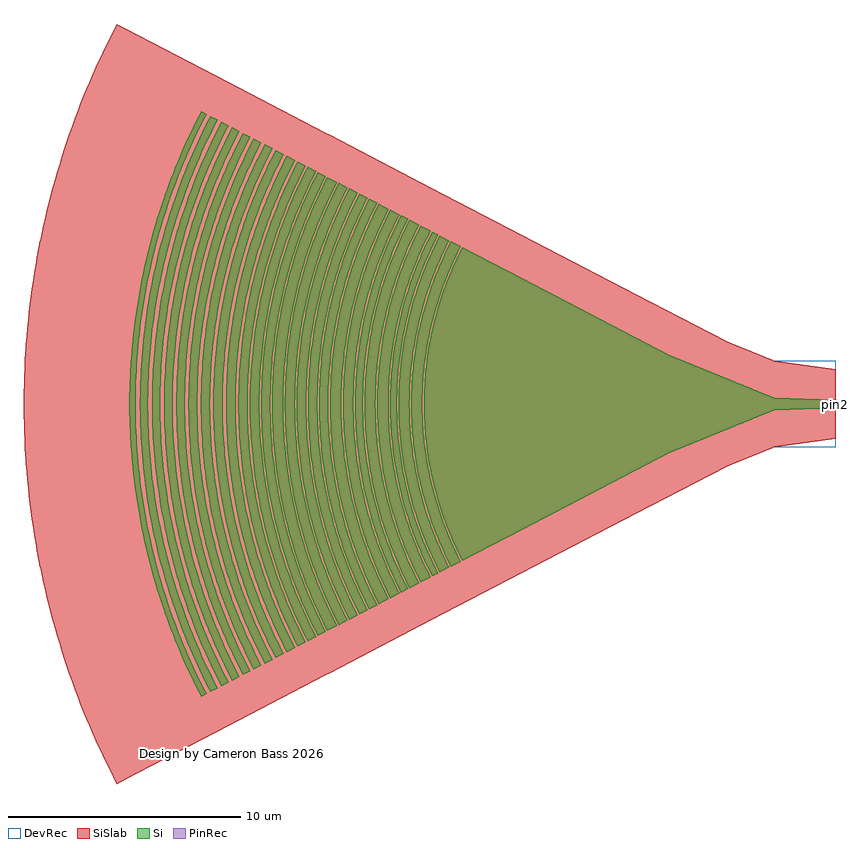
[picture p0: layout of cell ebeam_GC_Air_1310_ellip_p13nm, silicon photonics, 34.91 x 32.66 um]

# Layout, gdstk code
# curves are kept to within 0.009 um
import gdstk
lib = gdstk.Library(unit=1e-6, precision=1e-09)
def P(c, l, *ps):  # polygons
    for p in ps: c.add(gdstk.Polygon(p, *l))
Si = (1, 0)
PinRec = (1, 10)
SiSlab = (2, 0)
DevRec = (68, 0)

ebeam_gc_air_1310_ellip_ = lib.new_cell('ebeam_GC_Air_1310_ellip_p13nm')
P(ebeam_gc_air_1310_ellip_, Si, [(-16.054,-6.734),(-16.422,-5.974),(-16.796,-5.058),(-17.025,-4.388),(-17.291,-3.434),(-17.467,-2.603),(-17.594,-1.765),(-17.672,-0.919),(-17.7,-0.071),(-17.672,0.919),(-17.594,1.765),(-17.467,2.604),(-17.291,3.434),(-17.025,4.388),(-16.796,5.058),(-16.422,5.974),(-16.054,6.734),(-7.087,2.069),(-3.18,0.476),(-2.872,0.362),(-2.674,0.269),(0,0.175),(0,-0.175),(-2.673,-0.269),(-2.841,-0.349),(-3.195,-0.482),(-7.118,-2.082)],
  [(-16.546,-6.989),(-16.925,-6.204),(-17.262,-5.39),(-17.551,-4.557),(-17.792,-3.709),(-17.983,-2.848),(-18.123,-1.978),(-18.222,-0.955),(-18.252,-0.073),(-18.231,0.808),(-18.141,1.833),(-18.01,2.704),(-17.827,3.566),(-17.718,3.993),(-17.551,4.557),(-17.262,5.39),(-16.925,6.204),(-16.546,6.99),(-16.119,6.768),(-16.489,6.005),(-16.816,5.216),(-17.096,4.411),(-17.328,3.59),(-17.539,2.618),(-17.667,1.773),(-17.754,0.782),(-17.774,0.071),(-17.754,-0.782),(-17.667,-1.773),(-17.539,-2.617),(-17.362,-3.452),(-17.138,-4.275),(-16.866,-5.083),(-16.489,-6.005),(-16.119,-6.768)],
  [(-17.027,-7.24),(-17.419,-6.428),(-17.768,-5.585),(-18.067,-4.722),(-18.317,-3.843),(-18.514,-2.951),(-18.659,-2.05),(-18.752,-1.141),(-18.779,-0.685),(-18.793,-0.076),(-18.771,0.837),(-18.696,1.747),(-18.639,2.201),(-18.542,2.801),(-18.353,3.695),(-18.199,4.285),(-18.067,4.722),(-17.768,5.585),(-17.419,6.428),(-17.027,7.24),(-16.61,7.024),(-17.052,6.1),(-17.383,5.278),(-17.666,4.438),(-17.899,3.584),(-18.082,2.718),(-18.215,1.841),(-18.296,0.959),(-18.326,0.074),(-18.305,-0.811),(-18.215,-1.841),(-18.082,-2.718),(-17.899,-3.584),(-17.666,-4.438),(-17.383,-5.279),(-17.052,-6.1),(-16.61,-7.024)],
  [(-17.347,-7.407),(-17.551,-7.001),(-17.811,-6.434),(-18.16,-5.568),(-18.457,-4.682),(-18.704,-3.78),(-18.897,-2.866),(-19.037,-1.943),(-19.132,-0.857),(-19.154,0.078),(-19.123,1.012),(-19.037,1.943),(-18.974,2.406),(-18.869,3.019),(-18.667,3.932),(-18.411,4.831),(-18.105,5.714),(-17.748,6.577),(-17.346,7.407),(-17.093,7.274),(-17.548,6.319),(-17.943,5.325),(-18.092,4.89),(-18.27,4.305),(-18.526,3.265),(-18.69,2.362),(-18.786,1.604),(-18.845,0.841),(-18.867,0.077),(-18.852,-0.688),(-18.801,-1.451),(-18.69,-2.362),(-18.557,-3.115),(-18.46,-3.564),(-18.27,-4.305),(-17.994,-5.18),(-17.782,-5.753),(-17.548,-6.319),(-17.093,-7.274)],
  [(-17.843,-7.665),(-18.053,-7.245),(-18.322,-6.659),(-18.683,-5.763),(-18.991,-4.846),(-19.246,-3.913),(-19.446,-2.966),(-19.59,-2.011),(-19.679,-1.047),(-19.712,-0.08),(-19.688,0.887),(-19.609,1.85),(-19.474,2.808),(-19.353,3.442),(-19.246,3.913),(-18.991,4.846),(-18.683,5.763),(-18.509,6.214),(-18.257,6.807),(-17.843,7.665),(-17.412,7.441),(-17.815,6.608),(-18.174,5.74),(-18.483,4.853),(-18.738,3.951),(-18.97,2.88),(-19.11,1.951),(-19.174,1.329),(-19.206,0.86),(-19.228,0.078),(-19.206,-0.86),(-19.174,-1.329),(-19.11,-1.951),(-18.97,-2.88),(-18.775,-3.798),(-18.529,-4.704),(-18.229,-5.594),(-17.879,-6.465),(-17.412,-7.441)],
  [(-18.323,-7.915),(-18.751,-7.028),(-19.011,-6.416),(-19.19,-5.951),(-19.509,-5.004),(-19.772,-4.04),(-19.978,-3.063),(-20.128,-2.076),(-20.219,-1.082),(-20.253,-0.083),(-20.229,0.916),(-20.147,1.91),(-20.035,2.735),(-19.916,3.391),(-19.811,3.879),(-19.648,4.524),(-19.509,5.004),(-19.19,5.95),(-19.011,6.416),(-18.751,7.029),(-18.323,7.915),(-17.91,7.7),(-18.326,6.838),(-18.518,6.392),(-18.754,5.788),(-19.064,4.868),(-19.319,3.931),(-19.52,2.98),(-19.665,2.019),(-19.755,1.052),(-19.788,0.081),(-19.764,-0.89),(-19.684,-1.858),(-19.6,-2.501),(-19.52,-2.98),(-19.319,-3.93),(-19.064,-4.867),(-18.754,-5.789),(-18.326,-6.838),(-17.91,-7.7)],
  [(-18.685,-8.103),(-19.123,-7.195),(-19.514,-6.251),(-19.849,-5.285),(-20.042,-4.631),(-20.169,-4.136),(-20.38,-3.136),(-20.533,-2.125),(-20.627,-1.107),(-20.661,-0.085),(-20.637,0.937),(-20.553,1.956),(-20.41,2.968),(-20.282,3.638),(-20.169,4.136),(-20.042,4.631),(-19.849,5.285),(-19.514,6.251),(-19.123,7.195),(-18.685,8.103),(-18.388,7.95),(-18.679,7.363),(-18.953,6.753),(-19.142,6.289),(-19.374,5.662),(-19.532,5.185),(-19.719,4.544),(-19.883,3.895),(-19.989,3.405),(-20.134,2.582),(-20.239,1.753),(-20.304,0.919),(-20.328,0.084),(-20.304,-0.919),(-20.239,-1.753),(-20.134,-2.582),(-19.989,-3.405),(-19.883,-3.895),(-19.719,-4.544),(-19.532,-5.185),(-19.374,-5.662),(-18.953,-6.753),(-18.679,-7.363),(-18.389,-7.949)],
  [(-19.143,-8.342),(-19.594,-7.408),(-19.869,-6.762),(-20.058,-6.272),(-20.393,-5.274),(-20.671,-4.258),(-20.888,-3.228),(-21.046,-2.188),(-21.142,-1.14),(-21.178,-0.088),(-21.168,0.614),(-21.142,1.14),(-21.046,2.188),(-20.888,3.228),(-20.671,4.258),(-20.393,5.274),(-20.058,6.272),(-19.665,7.248),(-19.448,7.727),(-19.143,8.342),(-18.752,8.138),(-19.192,7.227),(-19.46,6.596),(-19.644,6.117),(-19.972,5.144),(-20.242,4.154),(-20.454,3.15),(-20.608,2.134),(-20.702,1.112),(-20.737,0.086),(-20.712,-0.941),(-20.628,-1.964),(-20.484,-2.981),(-20.39,-3.485),(-20.242,-4.154),(-19.972,-5.144),(-19.644,-6.118),(-19.261,-7.07),(-19.049,-7.537),(-18.752,-8.138)],
  [(-19.642,-8.602),(-20.105,-7.641),(-20.52,-6.639),(-20.875,-5.613),(-21.172,-4.568),(-21.406,-3.508),(-21.579,-2.437),(-21.689,-1.356),(-21.72,-0.815),(-21.738,-0.09),(-21.712,0.995),(-21.622,2.077),(-21.471,3.152),(-21.335,3.863),(-21.215,4.393),(-20.929,5.44),(-20.705,6.128),(-20.52,6.639),(-20.105,7.641),(-19.642,8.602),(-19.21,8.377),(-19.662,7.439),(-20.067,6.462),(-20.247,5.966),(-20.466,5.296),(-20.701,4.447),(-20.929,3.415),(-21.098,2.372),(-21.176,1.672),(-21.217,1.144),(-21.253,0.088),(-21.248,-0.441),(-21.217,-1.144),(-21.12,-2.196),(-20.962,-3.242),(-20.743,-4.276),(-20.466,-5.295),(-20.247,-5.966),(-20.067,-6.462),(-19.662,-7.439),(-19.21,-8.377)],
  [(-20.057,-8.818),(-20.533,-7.831),(-20.958,-6.804),(-21.323,-5.752),(-21.627,-4.681),(-21.867,-3.595),(-22.044,-2.497),(-22.157,-1.39),(-22.189,-0.835),(-22.207,-0.093),(-22.18,1.02),(-22.089,2.128),(-22.019,2.681),(-21.901,3.413),(-21.671,4.502),(-21.483,5.22),(-21.323,5.752),(-20.958,6.804),(-20.533,7.831),(-20.057,8.818),(-19.712,8.638),(-20.177,7.673),(-20.594,6.665),(-20.952,5.636),(-21.248,4.587),(-21.484,3.522),(-21.578,2.986),(-21.68,2.266),(-21.78,1.18),(-21.817,0.091),(-21.807,-0.635),(-21.738,-1.724),(-21.633,-2.626),(-21.449,-3.7),(-21.291,-4.41),(-21.108,-5.113),(-20.952,-5.635),(-20.72,-6.325),(-20.462,-7.003),(-20.251,-7.506),(-20.025,-8.003),(-19.712,-8.638)],
  [(-20.477,-9.037),(-20.966,-8.024),(-21.402,-6.971),(-21.775,-5.894),(-21.94,-5.348),(-22.132,-4.612),(-22.297,-3.871),(-22.401,-3.31),(-22.56,-2.182),(-22.654,-1.045),(-22.682,0.095),(-22.643,1.235),(-22.538,2.37),(-22.368,3.497),(-22.218,4.243),(-22.087,4.797),(-21.94,5.348),(-21.775,5.894),(-21.402,6.971),(-20.966,8.024),(-20.726,8.541),(-20.476,9.037),(-20.124,8.853),(-20.602,7.862),(-21.029,6.83),(-21.395,5.775),(-21.604,5.061),(-21.744,4.519),(-21.975,3.427),(-22.142,2.322),(-22.244,1.209),(-22.282,0.093),(-22.264,-0.837),(-22.201,-1.767),(-22.093,-2.691),(-21.905,-3.792),(-21.787,-4.338),(-21.604,-5.061),(-21.45,-5.597),(-21.22,-6.305),(-20.962,-7.003),(-20.751,-7.521),(-20.446,-8.2),(-20.124,-8.853)],
  [(-20.912,-9.263),(-21.414,-8.222),(-21.86,-7.144),(-22.243,-6.04),(-22.412,-5.481),(-22.563,-4.916),(-22.697,-4.347),(-22.851,-3.583),(-23.026,-2.429),(-23.133,-1.265),(-23.172,-0.097),(-23.167,0.487),(-23.133,1.265),(-23.026,2.429),(-22.851,3.584),(-22.609,4.727),(-22.464,5.292),(-22.301,5.854),(-21.929,6.962),(-21.493,8.045),(-21.167,8.753),(-20.912,9.263),(-20.548,9.073),(-20.88,8.401),(-21.116,7.881),(-21.544,6.818),(-21.909,5.734),(-22.21,4.63),(-22.447,3.511),(-22.618,2.379),(-22.723,1.239),(-22.762,0.096),(-22.751,-0.667),(-22.723,-1.239),(-22.618,-2.378),(-22.447,-3.511),(-22.21,-4.63),(-21.909,-5.734),(-21.544,-6.819),(-21.266,-7.529),(-21.039,-8.055),(-20.548,-9.073)],
  [(-21.363,-9.498),(-21.625,-8.976),(-21.877,-8.432),(-22.335,-7.326),(-22.728,-6.194),(-22.954,-5.427),(-23.103,-4.847),(-23.351,-3.675),(-23.53,-2.491),(-23.64,-1.297),(-23.669,-0.699),(-23.68,-0.1),(-23.675,0.499),(-23.64,1.298),(-23.53,2.491),(-23.351,3.675),(-23.103,4.847),(-22.954,5.427),(-22.728,6.194),(-22.335,7.326),(-21.877,8.432),(-21.625,8.976),(-21.363,9.498),(-20.978,9.297),(-21.482,8.254),(-21.931,7.17),(-22.316,6.062),(-22.484,5.501),(-22.681,4.744),(-22.924,3.597),(-23.1,2.437),(-23.207,1.27),(-23.247,0.098),(-23.242,-0.489),(-23.219,-1.074),(-23.162,-1.855),(-23.1,-2.437),(-22.924,-3.597),(-22.681,-4.744),(-22.484,-5.501),(-22.316,-6.062),(-21.931,-7.169),(-21.482,-8.254),(-20.978,-9.297)],
  [(-21.851,-9.751),(-22.118,-9.218),(-22.377,-8.659),(-22.621,-8.095),(-22.847,-7.523),(-23.251,-6.361),(-23.428,-5.772),(-23.587,-5.177),(-23.772,-4.378),(-23.89,-3.774),(-23.991,-3.167),(-24.074,-2.558),(-24.187,-1.332),(-24.217,-0.717),(-24.228,-0.102),(-24.199,1.128),(-24.098,2.354),(-23.991,3.167),(-23.89,3.774),(-23.772,4.378),(-23.636,4.978),(-23.483,5.574),(-23.251,6.361),(-22.847,7.524),(-22.621,8.095),(-22.377,8.66),(-21.851,9.752),(-21.429,9.532),(-21.945,8.463),(-22.405,7.352),(-22.611,6.787),(-22.8,6.216),(-23.127,5.06),(-23.266,4.474),(-23.387,3.885),(-23.579,2.698),(-23.701,1.502),(-23.736,0.901),(-23.755,0.1),(-23.726,-1.102),(-23.668,-1.902),(-23.604,-2.5),(-23.424,-3.689),(-23.175,-4.865),(-22.859,-6.025),(-22.476,-7.164),(-22.026,-8.28),(-21.778,-8.827),(-21.428,-9.532)],
  [(-22.265,-9.967),(-22.538,-9.421),(-22.803,-8.85),(-23.052,-8.273),(-23.284,-7.689),(-23.566,-6.899),(-23.758,-6.301),(-23.933,-5.696),(-24.09,-5.088),(-24.349,-3.857),(-24.452,-3.237),(-24.537,-2.614),(-24.653,-1.362),(-24.695,-0.105),(-24.665,1.153),(-24.562,2.405),(-24.483,3.03),(-24.386,3.651),(-24.271,4.27),(-24.09,5.088),(-23.933,5.696),(-23.758,6.301),(-23.566,6.9),(-23.284,7.689),(-23.052,8.274),(-22.803,8.851),(-22.265,9.967),(-21.917,9.786),(-22.273,9.064),(-22.528,8.503),(-22.843,7.742),(-23.06,7.164),(-23.26,6.58),(-23.499,5.793),(-23.658,5.196),(-23.844,4.393),(-23.963,3.788),(-24.064,3.178),(-24.193,2.158),(-24.273,1.131),(-24.303,0.103),(-24.283,-0.925),(-24.213,-1.953),(-24.094,-2.975),(-23.885,-4.191),(-23.755,-4.795),(-23.553,-5.594),(-23.322,-6.383),(-23.06,-7.164),(-22.767,-7.933),(-22.528,-8.502),(-22.273,-9.064),(-21.917,-9.786)],
  [(-22.699,-10.193),(-22.98,-9.633),(-23.251,-9.049),(-23.506,-8.459),(-23.743,-7.862),(-24.164,-6.647),(-24.407,-5.824),(-24.567,-5.202),(-24.709,-4.575),(-24.832,-3.944),(-24.938,-3.31),(-25.025,-2.673),(-25.093,-2.033),(-25.143,-1.392),(-25.174,-0.75),(-25.186,-0.107),(-25.18,0.536),(-25.155,1.179),(-25.112,1.82),(-25.05,2.459),(-24.969,3.098),(-24.87,3.733),(-24.709,4.575),(-24.567,5.202),(-24.349,6.032),(-24.164,6.647),(-23.743,7.862),(-23.506,8.459),(-23.251,9.049),(-22.98,9.633),(-22.699,10.193),(-22.334,10.003),(-22.699,9.264),(-22.96,8.69),(-23.282,7.912),(-23.503,7.322),(-23.772,6.524),(-23.952,5.919),(-24.115,5.31),(-24.305,4.49),(-24.497,3.457),(-24.64,2.414),(-24.731,1.366),(-24.762,0.737),(-24.774,0.105),(-24.754,-0.946),(-24.717,-1.576),(-24.662,-2.205),(-24.53,-3.248),(-24.347,-4.284),(-24.214,-4.901),(-24.008,-5.716),(-23.772,-6.524),(-23.503,-7.322),(-23.282,-7.912),(-22.96,-8.69),(-22.699,-9.264),(-22.334,-10.003)],
  [(-23.131,-10.418),(-23.421,-9.84),(-23.698,-9.244),(-23.958,-8.641),(-24.201,-8.031),(-24.632,-6.79),(-24.821,-6.161),(-24.991,-5.526),(-25.142,-4.888),(-25.275,-4.245),(-25.389,-3.597),(-25.484,-2.948),(-25.56,-2.295),(-25.632,-1.422),(-25.664,-0.766),(-25.676,-0.109),(-25.67,0.547),(-25.645,1.204),(-25.6,1.859),(-25.537,2.512),(-25.454,3.165),(-25.315,4.029),(-25.188,4.674),(-25.043,5.314),(-24.821,6.162),(-24.696,6.581),(-24.496,7.207),(-24.278,7.826),(-24.041,8.439),(-23.787,9.044),(-23.516,9.643),(-23.131,10.418),(-22.782,10.237),(-23.157,9.476),(-23.51,8.692),(-23.754,8.094),(-23.98,7.49),(-24.255,6.674),(-24.44,6.055),(-24.658,5.223),(-24.801,4.593),(-24.998,3.536),(-25.091,2.897),(-25.166,2.256),(-25.249,1.183),(-25.281,0.108),(-25.26,-0.968),(-25.166,-2.256),(-24.998,-3.536),(-24.801,-4.593),(-24.658,-5.223),(-24.44,-6.056),(-24.255,-6.674),(-23.98,-7.49),(-23.754,-8.094),(-23.424,-8.889),(-23.157,-9.476),(-22.782,-10.236)],
  [(-23.6,-10.663),(-23.9,-10.065),(-24.184,-9.456),(-24.45,-8.839),(-24.698,-8.215),(-24.928,-7.583),(-25.139,-6.946),(-25.332,-6.302),(-25.507,-5.653),(-25.662,-4.999),(-25.797,-4.341),(-25.949,-3.458),(-26.04,-2.793),(-26.111,-2.124),(-26.163,-1.455),(-26.196,-0.783),(-26.209,-0.112),(-26.202,0.56),(-26.176,1.232),(-26.131,1.902),(-26.04,2.793),(-25.949,3.459),(-25.838,4.121),(-25.709,4.781),(-25.56,5.436),(-25.393,6.086),(-25.205,6.732),(-25,7.372),(-24.777,8.006),(-24.535,8.632),(-24.275,9.251),(-23.997,9.864),(-23.6,10.663),(-23.24,10.475),(-23.627,9.692),(-23.9,9.092),(-24.156,8.483),(-24.469,7.661),(-24.683,7.036),(-24.94,6.193),(-25.163,5.342),(-25.309,4.698),(-25.511,3.616),(-25.66,2.525),(-25.723,1.869),(-25.768,1.21),(-25.8,0.11),(-25.779,-0.99),(-25.741,-1.649),(-25.683,-2.307),(-25.545,-3.399),(-25.436,-4.05),(-25.309,-4.698),(-25.163,-5.342),(-24.939,-6.194),(-24.683,-7.035),(-24.469,-7.66),(-24.156,-8.483),(-23.9,-9.092),(-23.627,-9.692),(-23.24,-10.475)],
  [(-24.083,-10.914),(-24.393,-10.297),(-24.683,-9.673),(-24.956,-9.042),(-25.21,-8.404),(-25.445,-7.758),(-25.729,-6.887),(-25.921,-6.226),(-26.092,-5.561),(-26.244,-4.891),(-26.377,-4.216),(-26.49,-3.538),(-26.583,-2.857),(-26.656,-2.173),(-26.709,-1.488),(-26.743,-0.801),(-26.756,-0.114),(-26.749,0.573),(-26.723,1.26),(-26.676,1.945),(-26.583,2.858),(-26.49,3.538),(-26.377,4.216),(-26.244,4.891),(-26.092,5.561),(-25.921,6.226),(-25.729,6.887),(-25.445,7.758),(-25.21,8.404),(-24.956,9.043),(-24.683,9.673),(-24.393,10.297),(-24.083,10.914),(-23.728,10.729),(-24.127,9.922),(-24.407,9.307),(-24.753,8.474),(-24.99,7.842),(-25.278,6.987),(-25.472,6.339),(-25.701,5.468),(-25.85,4.809),(-25.981,4.146),(-26.092,3.479),(-26.234,2.362),(-26.321,1.238),(-26.354,0.113),(-26.332,-1.013),(-26.292,-1.688),(-26.234,-2.362),(-26.092,-3.479),(-25.896,-4.588),(-25.753,-5.249),(-25.532,-6.122),(-25.278,-6.987),(-24.99,-7.842),(-24.753,-8.474),(-24.407,-9.307),(-24.03,-10.125),(-23.728,-10.729)],
  [(-24.553,-11.159),(-24.872,-10.525),(-25.169,-9.887),(-25.448,-9.242),(-25.707,-8.59),(-25.948,-7.929),(-26.169,-7.263),(-26.434,-6.364),(-26.61,-5.684),(-26.765,-4.999),(-26.901,-4.309),(-27.016,-3.616),(-27.111,-2.921),(-27.186,-2.221),(-27.241,-1.521),(-27.275,-0.819),(-27.288,-0.117),(-27.275,0.819),(-27.241,1.522),(-27.186,2.222),(-27.111,2.92),(-27.016,3.616),(-26.901,4.309),(-26.765,4.999),(-26.61,5.684),(-26.371,6.59),(-26.169,7.263),(-25.948,7.929),(-25.707,8.59),(-25.448,9.243),(-25.169,9.887),(-24.872,10.525),(-24.553,11.159),(-24.209,10.98),(-24.621,10.149),(-24.908,9.52),(-25.176,8.882),(-25.504,8.021),(-25.799,7.147),(-25.997,6.485),(-26.176,5.817),(-26.384,4.919),(-26.596,3.787),(-26.752,2.644),(-26.853,1.497),(-26.886,0.806),(-26.899,0.115),(-26.893,-0.576),(-26.866,-1.267),(-26.776,-2.416),(-26.696,-3.102),(-26.596,-3.787),(-26.384,-4.919),(-26.176,-5.817),(-25.996,-6.485),(-25.799,-7.147),(-25.504,-8.021),(-25.176,-8.882),(-24.908,-9.52),(-24.621,-10.149),(-24.209,-10.98)],
  [(-25.026,-11.405),(-25.353,-10.755),(-25.657,-10.104),(-25.941,-9.445),(-26.207,-8.778),(-26.452,-8.103),(-26.678,-7.422),(-26.886,-6.734),(-27.072,-6.04),(-27.237,-5.342),(-27.383,-4.638),(-27.507,-3.932),(-27.612,-3.222),(-27.695,-2.508),(-27.758,-1.793),(-27.809,-0.837),(-27.823,-0.12),(-27.816,0.598),(-27.788,1.316),(-27.739,2.032),(-27.67,2.746),(-27.579,3.459),(-27.427,4.403),(-27.288,5.109),(-27.129,5.808),(-26.95,6.503),(-26.749,7.194),(-26.53,7.877),(-26.207,8.778),(-25.941,9.445),(-25.657,10.104),(-25.353,10.755),(-25.026,11.405),(-24.689,11.23),(-25.112,10.377),(-25.405,9.734),(-25.679,9.082),(-26.015,8.202),(-26.244,7.533),(-26.519,6.631),(-26.702,5.948),(-26.915,5.03),(-27.131,3.872),(-27.291,2.705),(-27.36,2.001),(-27.408,1.295),(-27.442,0.118),(-27.435,-0.589),(-27.408,-1.295),(-27.316,-2.47),(-27.168,-3.639),(-27.052,-4.337),(-26.915,-5.03),(-26.702,-5.948),(-26.454,-6.857),(-26.244,-7.533),(-26.015,-8.202),(-25.679,-9.082),(-25.405,-9.734),(-25.01,-10.59),(-24.689,-11.229)],
  [(-25.488,-11.645),(-25.822,-10.981),(-26.132,-10.316),(-26.422,-9.643),(-26.693,-8.962),(-26.944,-8.273),(-27.175,-7.578),(-27.387,-6.876),(-27.577,-6.167),(-27.798,-5.216),(-27.939,-4.496),(-28.06,-3.773),(-28.159,-3.047),(-28.237,-2.318),(-28.294,-1.587),(-28.329,-0.855),(-28.344,-0.122),(-28.329,0.855),(-28.294,1.587),(-28.237,2.318),(-28.159,3.047),(-28.06,3.773),(-27.939,4.496),(-27.798,5.216),(-27.635,5.93),(-27.452,6.64),(-27.248,7.344),(-27.024,8.042),(-26.693,8.963),(-26.422,9.643),(-26.132,10.316),(-25.822,10.981),(-25.488,11.645),(-25.162,11.476),(-25.596,10.604),(-25.895,9.947),(-26.265,9.057),(-26.519,8.381),(-26.827,7.468),(-27.034,6.777),(-27.279,5.845),(-27.439,5.14),(-27.66,3.957),(-27.765,3.241),(-27.849,2.525),(-27.942,1.324),(-27.977,0.121),(-27.954,-1.083),(-27.912,-1.804),(-27.849,-2.524),(-27.765,-3.241),(-27.66,-3.956),(-27.439,-5.139),(-27.221,-6.078),(-27.033,-6.775),(-26.827,-7.468),(-26.519,-8.381),(-26.265,-9.057),(-25.895,-9.947),(-25.596,-10.604),(-25.162,-11.476)],
  [(-25.953,-11.887),(-26.294,-11.209),(-26.611,-10.53),(-26.907,-9.844),(-27.184,-9.149),(-27.44,-8.445),(-27.676,-7.735),(-27.892,-7.019),(-28.086,-6.295),(-28.311,-5.324),(-28.456,-4.589),(-28.578,-3.851),(-28.68,-3.11),(-28.76,-2.366),(-28.818,-1.62),(-28.854,-0.872),(-28.868,-0.125),(-28.854,0.872),(-28.818,1.62),(-28.76,2.366),(-28.68,3.111),(-28.578,3.852),(-28.456,4.589),(-28.311,5.324),(-28.145,6.053),(-27.959,6.778),(-27.75,7.497),(-27.521,8.209),(-27.272,8.915),(-27.002,9.613),(-26.611,10.53),(-26.294,11.209),(-25.953,11.888),(-25.633,11.721),(-25.969,11.052),(-26.381,10.159),(-26.667,9.478),(-27.018,8.559),(-27.257,7.861),(-27.545,6.921),(-27.735,6.208),(-27.958,5.249),(-28.183,4.041),(-28.35,2.822),(-28.422,2.088),(-28.472,1.352),(-28.508,0.123),(-28.5,-0.615),(-28.472,-1.352),(-28.376,-2.578),(-28.29,-3.31),(-28.183,-4.04),(-27.958,-5.249),(-27.794,-5.969),(-27.545,-6.92),(-27.257,-7.861),(-27.018,-8.559),(-26.667,-9.478),(-26.381,-10.158),(-26.075,-10.83),(-25.632,-11.721)],
  [(-26.412,-12.126),(-26.76,-11.434),(-27.083,-10.742),(-27.385,-10.041),(-27.667,-9.332),(-27.929,-8.614),(-28.169,-7.89),(-28.458,-6.914),(-28.587,-6.422),(-28.817,-5.431),(-28.965,-4.681),(-29.09,-3.929),(-29.193,-3.173),(-29.275,-2.413),(-29.334,-1.653),(-29.371,-0.89),(-29.386,-0.127),(-29.378,0.636),(-29.349,1.399),(-29.297,2.16),(-29.223,2.92),(-29.127,3.677),(-28.965,4.681),(-28.817,5.431),(-28.648,6.175),(-28.458,6.914),(-28.245,7.648),(-28.011,8.374),(-27.757,9.094),(-27.482,9.806),(-27.083,10.742),(-26.76,11.434),(-26.412,12.126),(-26.102,11.965),(-26.554,11.055),(-26.866,10.37),(-27.251,9.442),(-27.516,8.738),(-27.76,8.025),(-28.054,7.065),(-28.248,6.337),(-28.422,5.604),(-28.575,4.866),(-28.706,4.125),(-28.876,2.881),(-28.986,1.631),(-29.022,0.878),(-29.037,0.126),(-29.029,-0.628),(-29,-1.38),(-28.903,-2.632),(-28.815,-3.379),(-28.706,-4.125),(-28.475,-5.358),(-28.248,-6.337),(-28.054,-7.064),(-27.837,-7.785),(-27.516,-8.737),(-27.251,-9.442),(-26.866,-10.37),(-26.554,-11.055),(-26.102,-11.965)],
  [(-26.882,-12.371),(-27.342,-11.445),(-27.664,-10.735),(-27.966,-10.016),(-28.247,-9.288),(-28.506,-8.554),(-28.744,-7.812),(-28.961,-7.062),(-29.156,-6.307),(-29.328,-5.547),(-29.478,-4.782),(-29.606,-4.013),(-29.712,-3.241),(-29.794,-2.465),(-29.855,-1.688),(-29.893,-0.909),(-29.908,-0.13),(-29.893,0.909),(-29.855,1.688),(-29.794,2.465),(-29.712,3.241),(-29.606,4.013),(-29.478,4.782),(-29.328,5.548),(-29.156,6.307),(-28.961,7.062),(-28.744,7.812),(-28.506,8.554),(-28.247,9.289),(-27.966,10.016),(-27.664,10.735),(-27.342,11.445),(-26.882,12.372),(-26.569,12.209),(-27.03,11.28),(-27.349,10.581),(-27.742,9.634),(-28.012,8.915),(-28.34,7.944),(-28.56,7.207),(-28.759,6.466),(-28.991,5.467),(-29.226,4.209),(-29.4,2.939),(-29.474,2.175),(-29.526,1.408),(-29.564,0.128),(-29.539,-1.152),(-29.494,-1.919),(-29.427,-2.685),(-29.266,-3.955),(-29.139,-4.714),(-28.991,-5.467),(-28.759,-6.465),(-28.559,-7.208),(-28.34,-7.944),(-28.012,-8.915),(-27.742,-9.634),(-27.349,-10.581),(-27.03,-11.28),(-26.568,-12.208)],
  [(-27.28,-12.579),(-27.641,-11.859),(-27.976,-11.141),(-28.289,-10.415),(-28.581,-9.679),(-28.838,-8.976),(-29.101,-8.184),(-29.328,-7.426),(-29.534,-6.661),(-29.716,-5.891),(-29.876,-5.115),(-30.014,-4.335),(-30.129,-3.553),(-30.246,-2.503),(-30.302,-1.795),(-30.346,-0.923),(-30.361,-0.132),(-30.353,0.659),(-30.323,1.451),(-30.269,2.241),(-30.162,3.291),(-30.055,4.075),(-29.925,4.856),(-29.772,5.633),(-29.597,6.405),(-29.4,7.171),(-29.179,7.932),(-28.938,8.686),(-28.674,9.433),(-28.389,10.171),(-27.976,11.142),(-27.641,11.86),(-27.28,12.579),(-27.047,12.458),(-27.51,11.524),(-27.835,10.81),(-28.236,9.843),(-28.512,9.108),(-28.846,8.116),(-29.072,7.364),(-29.274,6.606),(-29.455,5.842),(-29.614,5.072),(-29.75,4.3),(-29.927,3.004),(-30.042,1.7),(-30.08,0.916),(-30.095,0.131),(-30.07,-1.177),(-30.024,-1.961),(-29.955,-2.743),(-29.864,-3.522),(-29.75,-4.3),(-29.614,-5.072),(-29.455,-5.841),(-29.274,-6.606),(-29.072,-7.364),(-28.846,-8.116),(-28.512,-9.108),(-28.236,-9.843),(-27.835,-10.81),(-27.51,-11.524),(-27.048,-12.458)])
P(ebeam_gc_air_1310_ellip_, SiSlab, [(-30.904,-16.329),(-31.366,-15.41),(-31.801,-14.477),(-32.208,-13.533),(-32.588,-12.577),(-32.94,-11.61),(-33.264,-10.634),(-33.559,-9.648),(-33.825,-8.655),(-34.062,-7.654),(-34.27,-6.647),(-34.449,-5.634),(-34.598,-4.616),(-34.717,-3.594),(-34.807,-2.569),(-34.867,-1.543),(-34.9,-0.171),(-34.89,0.857),(-34.85,1.885),(-34.781,2.912),(-34.681,3.935),(-34.552,4.956),(-34.393,5.972),(-34.135,7.319),(-33.907,8.322),(-33.651,9.318),(-33.365,10.307),(-33.051,11.286),(-32.709,12.256),(-32.338,13.216),(-31.94,14.164),(-31.366,15.41),(-30.904,16.329),(-4.744,2.708),(-2.65,1.855),(0,1.5),(0,-1.5),(-2.65,-1.855),(-4.728,-2.7)])
P(ebeam_gc_air_1310_ellip_, DevRec, [(-30.904,-16.329),(-31.366,-15.41),(-31.801,-14.477),(-32.208,-13.533),(-32.588,-12.577),(-32.94,-11.61),(-33.264,-10.634),(-33.559,-9.648),(-33.825,-8.655),(-34.062,-7.654),(-34.27,-6.647),(-34.449,-5.634),(-34.598,-4.616),(-34.717,-3.594),(-34.807,-2.569),(-34.867,-1.543),(-34.9,-0.171),(-34.89,0.857),(-34.85,1.885),(-34.781,2.912),(-34.681,3.935),(-34.552,4.956),(-34.393,5.972),(-34.135,7.319),(-33.907,8.322),(-33.651,9.318),(-33.365,10.307),(-33.051,11.286),(-32.709,12.256),(-32.338,13.216),(-31.94,14.164),(-31.366,15.41),(-30.904,16.329),(-4.744,2.708),(-2.65,1.855),(0,1.855),(0,-1.855),(-2.65,-1.855),(-4.728,-2.7)])
ebeam_gc_air_1310_ellip_.add(gdstk.FlexPath([(-0.01,0),(0.01,0)], 0.35, ends="flush", simple_path=True, layer=1, datatype=10))  # PinRec
ebeam_gc_air_1310_ellip_.add(gdstk.Label('pin2', (0,0), layer=1, texttype=10))
ebeam_gc_air_1310_ellip_.add(gdstk.Label('Design by Cameron Bass 2026', (-25.94,-15.02), layer=10, texttype=0))

lib.write_gds('ebeam_GC_Air_1310_ellip_p13nm.gds')
